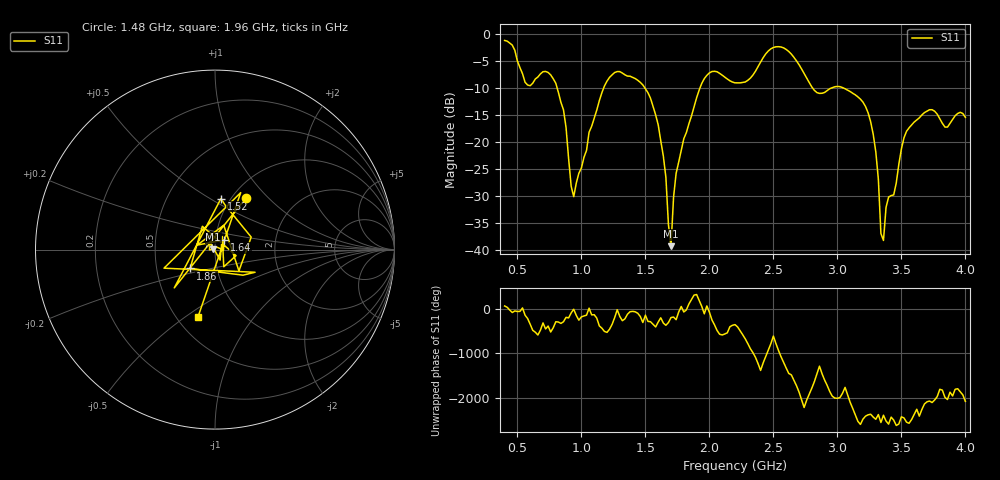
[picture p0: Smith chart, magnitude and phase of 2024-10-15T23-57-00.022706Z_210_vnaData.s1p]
! Created with skrf (http://scikit-rf.org).
# Hz S RI R 50.0
!freq ReS11 ImS11
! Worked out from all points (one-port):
!   181 points, 400 MHz to 4 GHz, reference 50 ohm
!   lowest |S11| = -39.3 dB at 1.7 GHz (marker M1), VSWR 1.02, Z = 48.9 + j0.143 ohm
!   |S11| at or under -10 dB: 810.5 MHz to 1.174 GHz (363.4 MHz wide, 36.6 % of centre); 1.496 GHz to 1.926 GHz (430 MHz wide, 25.1 % of centre); 3.047 GHz to end of sweep (the widest 3 of 4)
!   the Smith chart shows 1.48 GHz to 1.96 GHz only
!   S11 on the Smith chart (normalised r, x): 1.48 GHz: 1.15, +0.76; 1.52 GHz: 0.90, +0.56; 1.64 GHz: 1.10, +0.12; 1.86 GHz: 0.74, -0.16; 1.96 GHz: 0.64, -0.56
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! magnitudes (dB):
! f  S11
! 400 MHz  -1.2
! 580 MHz  -9.4
! 760 MHz  -7.6
! 860 MHz  -14.0
! 940 MHz  -30.1
! 1.16 GHz  -10.9
! 1.3 GHz  -7.0
! 1.48 GHz  -9.4
! 1.52 GHz  -10.9
! 1.64 GHz  -22.6
! 1.7 GHz  -39.3
! 1.72 GHz  -30.2
! 1.76 GHz  -23.7
! 1.86 GHz  -15.2
! 1.96 GHz  -8.3
! 2.2 GHz  -9.0
! 2.5 GHz  -2.5
! 2.66 GHz  -4.3
! 2.84 GHz  -10.9
! 3.1 GHz  -10.7
! 3.26 GHz  -16.3
! 3.3 GHz  -21.8
! 3.34 GHz  -37.0
! 3.36 GHz  -38.2
! 3.38 GHz  -32.1
! 3.56 GHz  -17.4
! 3.72 GHz  -14.0
! 4 GHz  -15.4
